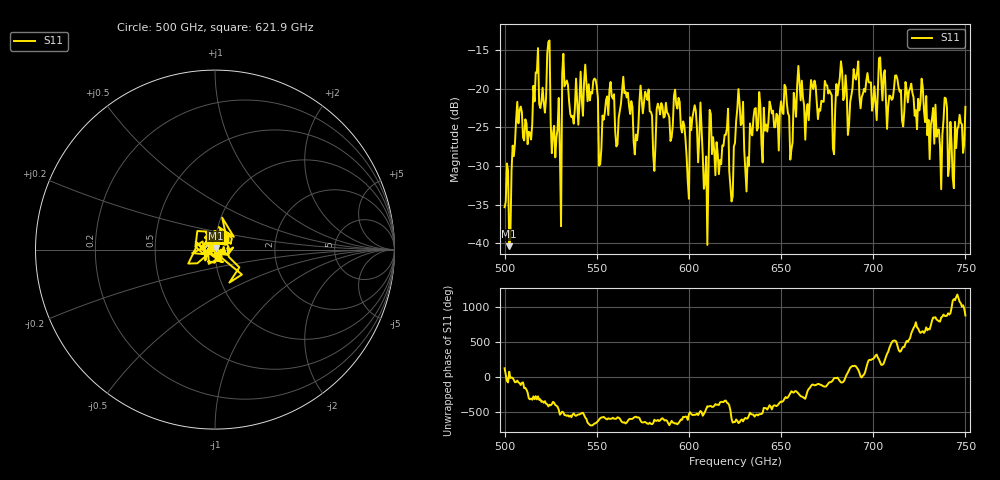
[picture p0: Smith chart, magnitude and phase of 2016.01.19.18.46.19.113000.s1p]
!Created with skrf (http://scikit-rf.org).
# GHz S RI R 50.0
!freq ReS11 ImS11
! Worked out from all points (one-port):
!   401 points, 500 GHz to 750 GHz, reference 50 ohm
!   lowest |S11| = -40.3 dB at 502.5 GHz (marker M1), VSWR 1.02, Z = 50.3 + j0.91 ohm
!   |S11| at or under -10 dB: start of sweep to end of sweep
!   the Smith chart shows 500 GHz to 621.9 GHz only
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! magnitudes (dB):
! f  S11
! 500 GHz  -35.3
! 502.5 GHz  -40.3
! 507.5 GHz  -24.5
! 513.8 GHz  -25.7
! 516.9 GHz  -17.9
! 526.9 GHz  -24.8
! 531.2 GHz  -18.1
! 532.5 GHz  -19.7
! 536.9 GHz  -23.5
! 549.4 GHz  -18.8
! 552.5 GHz  -27.8
! 562.5 GHz  -22.8
! 593.8 GHz  -22.6
! 598.8 GHz  -28.8
! 603.1 GHz  -22.1
! 609.4 GHz  -28.8
! 612.5 GHz  -28.5
! 620 GHz  -26.0
! 623.1 GHz  -34.6
! 625 GHz  -27.0
! 656.2 GHz  -27.0
! 660 GHz  -19.3
! 687.5 GHz  -21.7
! 718.8 GHz  -21.8
! 735.6 GHz  -25.3
! 738.8 GHz  -21.2
! 742.5 GHz  -27.1
! 750 GHz  -22.3
